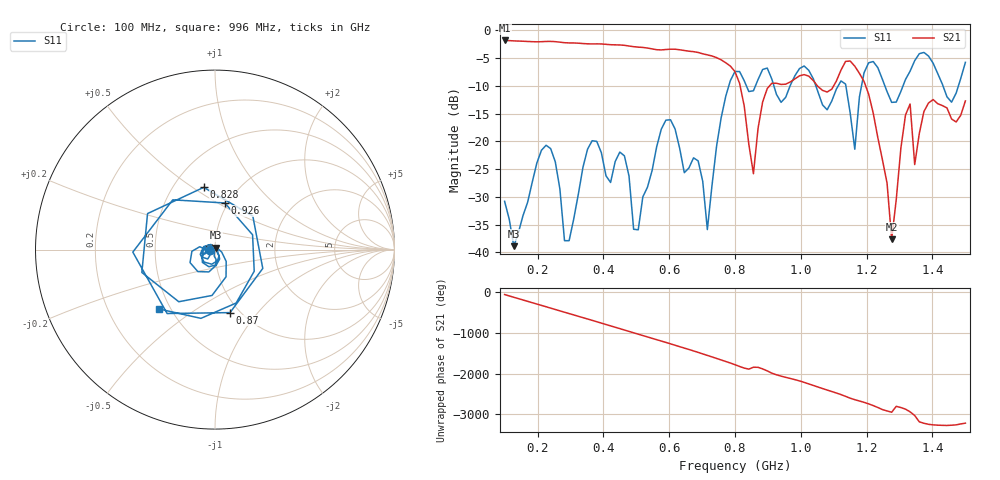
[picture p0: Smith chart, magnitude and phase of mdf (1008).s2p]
! NanoVNA-App
! Date: 2025-09-25 15:46:16
! Start: 100MHz Stop: 1,5GHz Points: 101
! S-Parameter data: F S11 S21 S12 S22
# Hz S RI R 50
!  Frequency  S11_Real  S11_Imag  S21_Real  S21_Imag  S12_Real  S12_Imag  S22_Real  S22_Imag
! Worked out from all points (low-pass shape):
!   101 points, 100 MHz to 1.5 GHz, reference 50 ohm
!   highest |S21| = -1.80 dB at 100 MHz (marker M1); lowest = -37.6 dB at 1.276 GHz (marker M2)
!   |S21| within 3 dB of the highest: start of sweep to 739.5 MHz
!   lowest |S11| = -38.9 dB at 128 MHz (marker M3), VSWR 1.02, Z = 50.4 + j1.08 ohm
!   |S11| at or under -10 dB: start of sweep to 781.1 MHz; 1.046 GHz to 1.113 GHz (67.78 MHz wide, 6.28 % of centre); 1.255 GHz to 1.31 GHz (55.01 MHz wide, 4.29 % of centre) (the widest 3 of 7)
!   S12 and S22 are empty: the file has one direction only
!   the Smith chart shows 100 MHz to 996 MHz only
!   S11 on the Smith chart (normalised r, x): 100 MHz: 0.94, -0.01; 828 MHz: 0.70, +0.55; 870 MHz: 0.90, -0.73; 926 MHz: 0.97, +0.54; 996 MHz: 0.44, -0.36
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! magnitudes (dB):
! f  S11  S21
! 100 MHz  -30.8  -1.8
! 128 MHz  -38.9  -1.9
! 212 MHz  -21.6  -2.0
! 282 MHz  -37.9  -2.2
! 338 MHz  -24.7  -2.4
! 464 MHz  -22.6  -2.7
! 506 MHz  -35.9  -3.0
! 576 MHz  -17.8  -3.5
! 716 MHz  -35.9  -4.4
! 800 MHz  -7.4  -7.4
! 828 MHz  -9.1  -13.6
! 856 MHz  -10.9  -25.8
! 870 MHz  -8.9  -17.7
! 926 MHz  -11.5  -9.5
! 996 MHz  -6.9  -8.2
! 1.038 GHz  -8.7  -9.0
! 1.164 GHz  -21.4  -6.4
! 1.192 GHz  -7.6  -9.2
! 1.276 GHz  -13.0  -37.6
! 1.332 GHz  -7.3  -13.3
! 1.346 GHz  -5.4  -24.2
! 1.5 GHz  -5.8  -12.7
